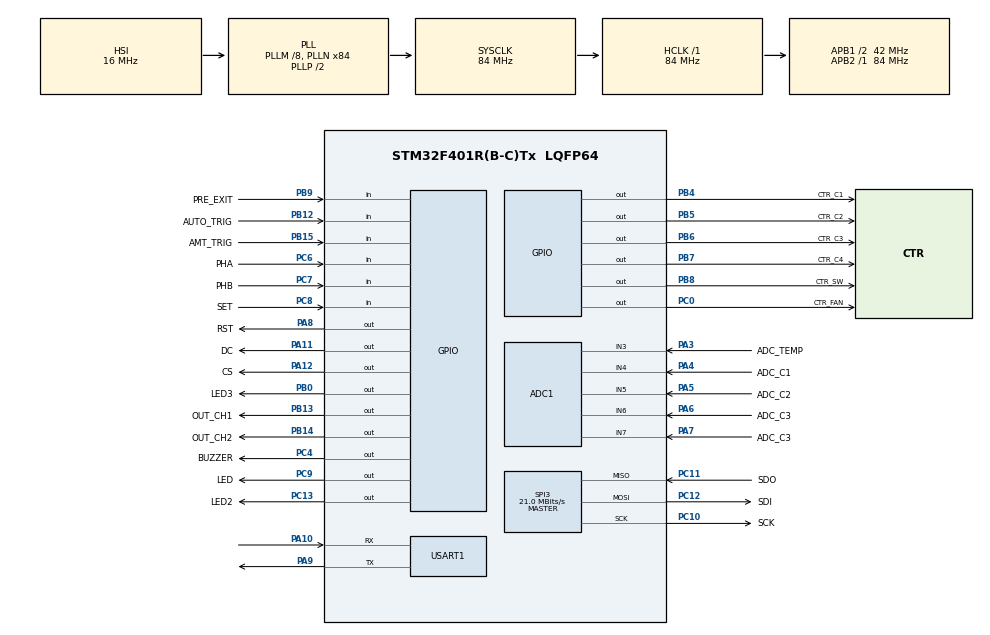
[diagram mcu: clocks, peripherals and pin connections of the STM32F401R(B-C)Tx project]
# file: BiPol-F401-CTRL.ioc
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ADC1.Channel-0\#ChannelRegularConversion=ADC_CHANNEL_3
ADC1.Channel-1\#ChannelRegularConversion=ADC_CHANNEL_4
ADC1.Channel-2\#ChannelRegularConversion=ADC_CHANNEL_5
ADC1.Channel-3\#ChannelRegularConversion=ADC_CHANNEL_6
ADC1.Channel-4\#ChannelRegularConversion=ADC_CHANNEL_7
ADC1.ContinuousConvMode=ENABLE
ADC1.DMAContinuousRequests=ENABLE
ADC1.NbrOfConversion=5
ADC1.NbrOfConversionFlag=1
ADC1.Rank-0\#ChannelRegularConversion=1
ADC1.Rank-1\#ChannelRegularConversion=2
ADC1.Rank-2\#ChannelRegularConversion=3
ADC1.Rank-3\#ChannelRegularConversion=4
ADC1.Rank-4\#ChannelRegularConversion=5
ADC1.SamplingTime-0\#ChannelRegularConversion=ADC_SAMPLETIME_480CYCLES
ADC1.SamplingTime-1\#ChannelRegularConversion=ADC_SAMPLETIME_480CYCLES
ADC1.SamplingTime-2\#ChannelRegularConversion=ADC_SAMPLETIME_480CYCLES
ADC1.SamplingTime-3\#ChannelRegularConversion=ADC_SAMPLETIME_480CYCLES
ADC1.SamplingTime-4\#ChannelRegularConversion=ADC_SAMPLETIME_480CYCLES
ADC1.master=1
Dma.ADC1.0.Direction=DMA_PERIPH_TO_MEMORY
Dma.ADC1.0.FIFOMode=DMA_FIFOMODE_DISABLE
Dma.ADC1.0.Instance=DMA2_Stream0
Dma.ADC1.0.MemDataAlignment=DMA_MDATAALIGN_WORD
Dma.ADC1.0.MemInc=DMA_MINC_ENABLE
Dma.ADC1.0.Mode=DMA_CIRCULAR
Dma.ADC1.0.PeriphDataAlignment=DMA_PDATAALIGN_WORD
Dma.ADC1.0.PeriphInc=DMA_PINC_DISABLE
Dma.ADC1.0.Priority=DMA_PRIORITY_LOW
Dma.Request0=ADC1
Mcu.Family=STM32F4
Mcu.Name=STM32F401R(B-C)Tx
Mcu.Package=LQFP64
NVIC.DMA2_Stream0_IRQn=true\:0\:0\:false\:false\:true\:false\:true
NVIC.PriorityGroup=NVIC_PRIORITYGROUP_4
NVIC.TIM2_IRQn=true\:0\:0\:true\:false\:true\:true\:true
NVIC.TIM3_IRQn=true\:0\:0\:true\:false\:true\:true\:true
NVIC.TIM4_IRQn=true\:0\:0\:false\:false\:true\:true\:true
PA10.Mode=Asynchronous
PA10.Signal=USART1_RX
PA11.GPIO_Label=DC
PA11.Signal=GPIO_Output
PA12.GPIO_Label=CS
PA12.Signal=GPIO_Output
PA13.Mode=Trace_Asynchronous_SW
PA13.Signal=SYS_JTMS-SWDIO
PA14.Mode=Trace_Asynchronous_SW
PA14.Signal=SYS_JTCK-SWCLK
PA3.GPIO_Label=ADC_TEMP
PA3.Signal=ADCx_IN3
PA4.GPIO_Label=ADC_C1
PA4.Signal=ADCx_IN4
PA5.GPIO_Label=ADC_C2
PA5.Signal=ADCx_IN5
PA6.GPIO_Label=ADC_C3
PA6.Signal=ADCx_IN6
PA7.GPIO_Label=ADC_C3
PA7.Signal=ADCx_IN7
PA8.GPIO_Label=RST
PA8.Signal=GPIO_Output
PA9.Mode=Asynchronous
PA9.Signal=USART1_TX
PB0.GPIO_Label=LED3
PB0.Signal=GPIO_Output
PB12.GPIO_Label=AUTO_TRIG
PB12.GPIO_PuPd=GPIO_PULLUP
PB12.Signal=GPIO_Input
PB13.GPIO_Label=OUT_CH1
PB13.Signal=GPIO_Output
PB14.GPIO_Label=OUT_CH2
PB14.Signal=GPIO_Output
PB15.GPIO_Label=AMT_TRIG
PB15.GPIO_PuPd=GPIO_PULLUP
PB15.Signal=GPIO_Input
PB3.Mode=Trace_Asynchronous_SW
PB3.Signal=SYS_JTDO-SWO
PB4.GPIO_Label=CTR_C1
PB4.Signal=GPIO_Output
PB5.GPIO_Label=CTR_C2
PB5.Signal=GPIO_Output
PB6.GPIO_Label=CTR_C3
PB6.Signal=GPIO_Output
PB7.GPIO_Label=CTR_C4
PB7.Signal=GPIO_Output
PB8.GPIO_Label=CTR_SW
PB8.Signal=GPIO_Output
PB9.GPIO_Label=PRE_EXIT
PB9.GPIO_PuPd=GPIO_PULLUP
PB9.Signal=GPIO_Input
PC0.GPIO_Label=CTR_FAN
PC0.Signal=GPIO_Output
PC10.GPIO_Label=SCK
PC10.Mode=Full_Duplex_Master
PC10.Signal=SPI3_SCK
PC11.GPIO_Label=SDO
PC11.Mode=Full_Duplex_Master
PC11.Signal=SPI3_MISO
PC12.GPIO_Label=SDI
PC12.Mode=Full_Duplex_Master
PC12.Signal=SPI3_MOSI
PC13-ANTI_TAMP.GPIO_Label=LED2
PC13-ANTI_TAMP.Signal=GPIO_Output
PC14-OSC32_IN.Mode=LSE-External-Oscillator
PC14-OSC32_IN.Signal=RCC_OSC32_IN
PC15-OSC32_OUT.Mode=LSE-External-Oscillator
PC15-OSC32_OUT.Signal=RCC_OSC32_OUT
PC4.GPIO_Label=BUZZER
PC4.Signal=GPIO_Output
PC6.GPIO_Label=PHA
PC6.GPIO_PuPd=GPIO_PULLUP
PC6.Signal=GPIO_Input
PC7.GPIO_Label=PHB
PC7.GPIO_PuPd=GPIO_PULLUP
PC7.Signal=GPIO_Input
PC8.GPIO_Label=SET
PC8.GPIO_PuPd=GPIO_PULLUP
PC8.Signal=GPIO_Input
PC9.GPIO_Label=LED
PC9.Signal=GPIO_Output
PH0\ -\ OSC_IN.Mode=HSE-External-Oscillator
PH0\ -\ OSC_IN.Signal=RCC_OSC_IN
PH1\ -\ OSC_OUT.Mode=HSE-External-Oscillator
PH1\ -\ OSC_OUT.Signal=RCC_OSC_OUT
ProjectManager.HeapSize=0x200
ProjectManager.StackSize=0x400
ProjectManager.TargetToolchain=STM32CubeIDE
RCC.48MHZClocksFreq_Value=42000000
RCC.AHBFreq_Value=84000000
RCC.APB1CLKDivider=RCC_HCLK_DIV2
RCC.APB1Freq_Value=42000000
RCC.APB1TimFreq_Value=84000000
RCC.APB2Freq_Value=84000000
RCC.APB2TimFreq_Value=84000000
RCC.CortexFreq_Value=84000000
RCC.HCLKFreq_Value=84000000
RCC.HSE_VALUE=25000000
RCC.HSI_VALUE=16000000
RCC.PLLM=8
RCC.PLLN=84
RCC.SYSCLKFreq_VALUE=84000000
RCC.SYSCLKSource=RCC_SYSCLKSOURCE_PLLCLK
RCC.VCOOutputFreq_Value=168000000
SH.ADCx_IN3.0=ADC1_IN3,IN3
SH.ADCx_IN4.0=ADC1_IN4,IN4
SH.ADCx_IN5.0=ADC1_IN5,IN5
SH.ADCx_IN6.0=ADC1_IN6,IN6
SH.ADCx_IN7.0=ADC1_IN7,IN7
SPI3.CLKPolarity=SPI_POLARITY_LOW
SPI3.CalculateBaudRate=21.0 MBits/s
SPI3.Direction=SPI_DIRECTION_2LINES
SPI3.Mode=SPI_MODE_MASTER
SPI3.VirtualType=VM_MASTER
TIM2.AutoReloadPreload=TIM_AUTORELOAD_PRELOAD_ENABLE
TIM2.Prescaler=83
TIM3.AutoReloadPreload=TIM_AUTORELOAD_PRELOAD_ENABLE
TIM3.Period=249
TIM3.Prescaler=83
TIM4.AutoReloadPreload=TIM_AUTORELOAD_PRELOAD_ENABLE
TIM4.Period=49
TIM4.Prescaler=83
USART1.VirtualMode=VM_ASYNC
VP_CRC_VS_CRC.Mode=CRC_Activate
VP_TIM2_VS_ClockSourceINT.Mode=Internal
VP_TIM3_VS_ClockSourceINT.Mode=Internal
VP_TIM4_VS_ClockSourceINT.Mode=Internal
board=custom

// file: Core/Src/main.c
/* USER CODE BEGIN Header */
/**
  ******************************************************************************
  * @file           : main.c
  * @brief          : Main program body
  ******************************************************************************
  * @attention
  *
  * <h2><center>&copy; Copyright (c) 2025 STMicroelectronics.
  * All rights reserved.</center></h2>
  *
  * This software component is licensed by ST under BSD 3-Clause license,
  * the "License"; You may not use this file except in compliance with the
  * License. You may obtain a copy of the License at:
  *                        opensource.org/licenses/BSD-3-Clause
  *
  ******************************************************************************
  */
/* USER CODE END Header */
#include "main.h"
#include "adc.h"
#include "crc.h"
#include "dma.h"
#include "spi.h"
#include "tim.h"
#include "usart.h"
#include "gpio.h"

/* USER CODE BEGIN Includes */
#include "stdio.h"
#include "lcd.h"
#include "flash_store.h"
#include "debug_printf.h"
#include "ui.h"
/* USER CODE END Includes */

/* USER CODE BEGIN PTD */
#ifdef __GNUC__
PUTCHAR_PROTOTYPE
{
    HAL_UART_Transmit(&huart1, (uint8_t*)&ch, 1, HAL_MAX_DELAY);
    return ch;
}
#endif

volatile uint32_t timer_overflow_count = 0;  // 溢出次数�????????????????32位扩展）

uint64_t Get_Global_Time_us(void) {
    uint32_t overflow, counter;
    do {
        overflow = timer_overflow_count;
        counter = __HAL_TIM_GET_COUNTER(&htim2);
    } while (overflow != timer_overflow_count); // 无锁校验
    return ((uint64_t)overflow<<32) | counter; // 组合�????????????????64位时间戳
}

void didi()
{
    HAL_TIM_Base_Start_IT(&htim3);
}

data_cfg_t g_dataCfg;

void (*g_blanking_function)(float) = NULL;

#define INIT_VAL 2000000000
#define FLOAT_TO_UINT32(x) ((uint32_t)((x) + 0.5f))
typedef enum {
    MANUAL,
    AUTO,
    NONE
} WELDING_MODE;
uint8_t pre_exit = 0;
WELDING_MODE trig_type=NONE;

uint8_t g_blanking;
uint32_t g_cnt =  INIT_VAL;
uint8_t g_btn = 0;
int32_t btn_delay_cnt = 10000;//500ms base 50us period
int32_t trig_delay_cnt = 10000;//500ms base 50us period
int32_t pre_exit_delay_cnt = 100000;//5s base 50us period
uint8_t bezCnt = 0;
void HAL_TIM_PeriodElapsedCallback(TIM_HandleTypeDef *htim) {
    static int8_t cnt_btn=0;
    static int8_t cnt_a=0;
    static int8_t pre_a=0;
    static int8_t cnt_b=0;
    static int8_t cnt_amt_trig=0;
    static int8_t cnt_auto_trig=0;
    static int8_t cnt_pre_exit=0;
    if (htim->Instance == TIM2) {
        timer_overflow_count++;
    }
    if (htim->Instance == TIM3) {
        HAL_GPIO_TogglePin(BUZZER_GPIO_Port,BUZZER_Pin);
        bezCnt += 1;
        if(bezCnt>35)
        {
            bezCnt=0;
            HAL_TIM_Base_Stop_IT(&htim3);
        }
    }
    if(htim->Instance == TIM4) // 50us
    {
        cnt_amt_trig += HAL_GPIO_ReadPin(AMT_TRIG_GPIO_Port,AMT_TRIG_Pin)?-1:1;
        cnt_auto_trig += HAL_GPIO_ReadPin(AUTO_TRIG_GPIO_Port,AUTO_TRIG_Pin)?-1:1;
        cnt_pre_exit += HAL_GPIO_ReadPin(PRE_EXIT_GPIO_Port,PRE_EXIT_Pin)?-1:1;
        cnt_btn += HAL_GPIO_ReadPin(SET_GPIO_Port,SET_Pin)?-1:1;
        cnt_a += HAL_GPIO_ReadPin(PHB_GPIO_Port,PHB_Pin)?1:-1;
        cnt_b += HAL_GPIO_ReadPin(PHA_GPIO_Port,PHA_Pin)?1:-1;
        cnt_amt_trig = (int8_t)((cnt_amt_trig < 0) ? 0 : ((cnt_amt_trig > 20) ? 20 : cnt_amt_trig));
        cnt_auto_trig = (int8_t)((cnt_auto_trig < 0) ? 0 : ((cnt_auto_trig > 20) ? 20 : cnt_auto_trig));
        cnt_pre_exit = (int8_t)((cnt_pre_exit < 0) ? 0 : ((cnt_pre_exit > 20) ? 20 : cnt_pre_exit));
        cnt_btn = (int8_t)((cnt_btn < 0) ? 0 : ((cnt_btn > 20) ? 20 : cnt_btn));
        cnt_a = (int8_t)((cnt_a < 0) ? 0 : ((cnt_a > 20) ? 20 : cnt_a));
        cnt_b = (int8_t)((cnt_b < 0) ? 0 : ((cnt_b > 20) ? 20 : cnt_b));
        if(trig_type==NONE)
        {
            trig_delay_cnt -= 1;
            trig_delay_cnt = (trig_delay_cnt > 10000) ? 10000 : ((trig_delay_cnt < 0) ? 0 : trig_delay_cnt);
        }
        btn_delay_cnt -= 1;
        btn_delay_cnt = (btn_delay_cnt > 10000) ? 10000 : ((btn_delay_cnt < 0) ? 0 : btn_delay_cnt);
        if(pre_exit==0)
        {
            pre_exit_delay_cnt -= 1;
            pre_exit_delay_cnt = (pre_exit_delay_cnt > 100000) ? 100000 : ((pre_exit_delay_cnt < 0) ? 0 : pre_exit_delay_cnt);
        }

        if(cnt_amt_trig>10 && trig_delay_cnt==0)
        {
            trig_type = MANUAL;
            trig_delay_cnt = 10000;
        }

        if(cnt_auto_trig>10 && trig_delay_cnt==0)
        {
            trig_type = AUTO;
            trig_delay_cnt = 10000;
        }
        if(cnt_pre_exit>10 && pre_exit_delay_cnt==0)
        {
            pre_exit = 1;
            pre_exit_delay_cnt = 100000;
        }

        if(cnt_btn>10 && btn_delay_cnt==0)
        {
            didi();
            g_btn = 1;
            cnt_btn = 0;
            btn_delay_cnt = 10000;// reset
        }

        if(cnt_a>10)
        {
            pre_a = 1;
        }
        else
        {
            if(pre_a)
            {
                if(cnt_b>10)//CCW
                {
                    didi();
                    g_cnt--;
                }else //CW
                {
                    didi();
                    g_cnt++;
                }
            }
            pre_a = 0;
        }
        //HAL_GPIO_WritePin(LED3_GPIO_Port,LED3_Pin,0);
//        HAL_GPIO_TogglePin(LED2_GPIO_Port,LED2_Pin);
        //HAL_GPIO_WritePin(LED2_GPIO_Port,LED2_Pin,0);
    }
}

/* USER CODE END PTD */

/* USER CODE BEGIN PD */
/* 系统状�?�枚�???????????? */
typedef enum {
    STATE_INIT = 0,
    STATE_CHARGE,
    STATE_BALANCE,
    STATE_MAINTAIN,
    STATE_DISCHARGE
} SystemState;

/* 全局变量 */
SystemState g_state = STATE_INIT;

uint32_t g_adc_buffer[5];            // ADC采样缓冲�????????????
uint16_t g_target_voltage_mv = 0;    // 目标电压 (mV)
uint16_t g_cap_voltage_mv[4] = {0};  // 电容电压 (mV)
uint16_t g_temp = 0;                 // 温度电压 (mv)

uint8_t value_updated = 0;

WELDING_MODE g_weldingMode = 0; // 0:AMT,1: AUTO
uint32_t g_idx = 0;   // 1- 5
float g_U = 9.2f;     // 0.2-12.0 v
float g_psqr = 0.1f;  // 0.1-5.0 s
float g_ch1 = 9.6f;   // 0.1-25.0 ms
float g_cool = 1.0f;  // 1.0-9.9 ms
float g_ch2 = 9.6f;   // 0.1-25.0 ms
uint32_t g_count = 0; // 0->>>>>

void SystemStateMachine(void);
void UpdateVoltageMeasurements(void);

uint8_t env_detect()
{
    static uint64_t pretime = 0;
    uint64_t crrtime = Get_Global_Time_us();
    if(crrtime > pretime + 1000000)
    {
//        HAL_GPIO_TogglePin(LED2_GPIO_Port,LED2_Pin);
        pretime = crrtime;
        if(g_temp<1500)
        {
//            printf("FAN ON\r\n");
            HAL_GPIO_WritePin(CTR_FAN_GPIO_Port,CTR_FAN_Pin,1);
        }
        if(g_temp>1800)
        {
//            printf("FAN OFF\r\n");
            HAL_GPIO_WritePin(CTR_FAN_GPIO_Port,CTR_FAN_Pin,0);
        }
        return 1;
    }
    return 0;
}

void HAL_ADC_ConvCpltCallback(ADC_HandleTypeDef* hadc) {
    if(hadc->Instance == ADC1) {
//        HAL_GPIO_TogglePin(LED2_GPIO_Port,LED2_Pin);
        UpdateVoltageMeasurements();
    }
}

void updateParameter(uint32_t idx)
{
    g_U = (float)(g_dataCfg.u[idx]/100.0f);
    g_psqr =  (float)(g_dataCfg.psqr[idx]/10.0f);
    g_ch1 = (float)(g_dataCfg.ch1[idx]/10.0f);
    g_cool = (float)(g_dataCfg.cool[idx]/10.0f);
    g_ch2 = (float)(g_dataCfg.ch2[idx]/10.0f);

    ShowSelectedChannel(g_idx,0);
    ShowSetVoltage(g_U,0);
    ShowSQDuration(g_psqr,0);
    ShowWE1Duration(g_ch1,0);
    ShowCOOLDuration(g_cool,0);
    ShowWE2Duration(g_ch2,0);
}

#define ALPHA 0.1f
static uint16_t filtered_voltage[4] = {0};

void UpdateVoltageMeasurements(void) {

    g_target_voltage_mv = (u_int16_t)(g_U/2.0f*1000.0f);

    // Temperature Sensor Input. channel(PA3)
    g_temp = (uint16_t)(g_adc_buffer[0] * 3300.0f / 4096.0f); // <1500,fan on; >1700, fan off

    // Four Capacitor Voltage Inputs. channel(PA4-PA7)
    for(int i = 0; i < 4; i++) {
        float adc_voltage = g_adc_buffer[i+1] * 3.3f / 4096.0f;
        // scaling
        uint16_t raw_voltage = (uint16_t)(adc_voltage * (16.0f / 10.0f) * 1000);

        // Low-pass filter
        if(filtered_voltage[i] == 0) {
            filtered_voltage[i] = raw_voltage;
        } else {
            filtered_voltage[i] = (uint16_t)(ALPHA * raw_voltage + (1 - ALPHA) * filtered_voltage[i]);
        }
        g_cap_voltage_mv[i] = filtered_voltage[i];
    }

//    printf("Set=%u,C1=%u,C2=%u,C3=%u,C4=%u,St=%d\r\n",
//           g_target_voltage_mv,
//           g_cap_voltage_mv[0],
//           g_cap_voltage_mv[1],
//           g_cap_voltage_mv[2],
//           g_cap_voltage_mv[3],
//           g_state);
}

#define BALANCE_THRESHOLD    20    // unit(mv)

void SystemStateMachine(void) {
    uint8_t i;
    uint16_t max_voltage = 0;
    uint16_t min_voltage = UINT16_MAX;
    uint16_t avg_voltage = 0;
    uint8_t max_id = 0;

    for(i = 0; i < 4; i++) {
        if(g_cap_voltage_mv[i] > max_voltage)
        {
            max_voltage = g_cap_voltage_mv[i];
            max_id = i;
        }
        if(g_cap_voltage_mv[i] < min_voltage)
        {
            min_voltage = g_cap_voltage_mv[i];
        }
        avg_voltage += g_cap_voltage_mv[i];
    }
    avg_voltage /= 4;

    switch(g_state) {
        case STATE_INIT:
            g_state = STATE_CHARGE;
            break;

        case STATE_CHARGE: {
            HAL_GPIO_WritePin(CTR_SW_GPIO_Port, CTR_SW_Pin, GPIO_PIN_SET);

            HAL_GPIO_WritePin(CTR_C1_GPIO_Port, CTR_C1_Pin, GPIO_PIN_RESET);
            HAL_GPIO_WritePin(CTR_C2_GPIO_Port, CTR_C2_Pin, GPIO_PIN_RESET);
            HAL_GPIO_WritePin(CTR_C3_GPIO_Port, CTR_C3_Pin, GPIO_PIN_RESET);
            HAL_GPIO_WritePin(CTR_C4_GPIO_Port, CTR_C4_Pin, GPIO_PIN_RESET);

            if(avg_voltage > g_target_voltage_mv*0.3) {
                g_state = STATE_BALANCE;
            }
            break;
        }

        case STATE_BALANCE: {
            HAL_GPIO_WritePin(CTR_SW_GPIO_Port, CTR_SW_Pin, GPIO_PIN_SET);

            uint8_t discharge_flags[4] = {0};

            if(max_voltage-min_voltage > BALANCE_THRESHOLD)
            {
                discharge_flags[max_id] = 1;
            }

            HAL_GPIO_WritePin(CTR_C1_GPIO_Port, CTR_C1_Pin, discharge_flags[0]);
            HAL_GPIO_WritePin(CTR_C2_GPIO_Port, CTR_C2_Pin, discharge_flags[1]);
            HAL_GPIO_WritePin(CTR_C3_GPIO_Port, CTR_C3_Pin, discharge_flags[2]);
            HAL_GPIO_WritePin(CTR_C4_GPIO_Port, CTR_C4_Pin, discharge_flags[3]);

            if(max_voltage<g_target_voltage_mv*0.8)
            {
                g_state = STATE_CHARGE;
            }

            if(avg_voltage>g_target_voltage_mv) {
                g_state = STATE_MAINTAIN;
            }
            break;
        }

        case STATE_MAINTAIN: {
            HAL_GPIO_WritePin(CTR_SW_GPIO_Port, CTR_SW_Pin, GPIO_PIN_RESET);

            uint8_t discharge_flags[4] = {0};

            if(max_voltage-min_voltage > BALANCE_THRESHOLD)
            {
                discharge_flags[max_id] = 1;
            }

            HAL_GPIO_WritePin(CTR_C1_GPIO_Port, CTR_C1_Pin, discharge_flags[0] );
            HAL_GPIO_WritePin(CTR_C2_GPIO_Port, CTR_C2_Pin, discharge_flags[1] );
            HAL_GPIO_WritePin(CTR_C3_GPIO_Port, CTR_C3_Pin, discharge_flags[2] );
            HAL_GPIO_WritePin(CTR_C4_GPIO_Port, CTR_C4_Pin, discharge_flags[3] );

            if(max_voltage<g_target_voltage_mv)
            {
                g_state = STATE_BALANCE;
            }

            if(min_voltage>g_target_voltage_mv)
            {
                g_state = STATE_DISCHARGE;
            }
            break;
        }

        case STATE_DISCHARGE: {
            HAL_GPIO_WritePin(CTR_SW_GPIO_Port, CTR_SW_Pin, GPIO_PIN_RESET);

            uint8_t discharge_flags[4] = {0};
            uint8_t all_in_range = 1;

            for(i = 0; i < 4; i++) {
                if ((g_cap_voltage_mv[i]>=g_target_voltage_mv) && (g_cap_voltage_mv[i] - g_target_voltage_mv > BALANCE_THRESHOLD)) {
                    discharge_flags[i] = 1;
                    all_in_range = 0;
                }
            }

            HAL_GPIO_WritePin(CTR_C1_GPIO_Port, CTR_C1_Pin, discharge_flags[0] );
            HAL_GPIO_WritePin(CTR_C2_GPIO_Port, CTR_C2_Pin, discharge_flags[1] );
            HAL_GPIO_WritePin(CTR_C3_GPIO_Port, CTR_C3_Pin, discharge_flags[2] );
            HAL_GPIO_WritePin(CTR_C4_GPIO_Port, CTR_C4_Pin, discharge_flags[3] );

            if(all_in_range)
            {
                g_state = STATE_MAINTAIN;
            }
            break;
        }
    }
}

void update_cap_equalizer()
{
    static uint64_t preTimestamp = 0;
    if(Get_Global_Time_us()>preTimestamp+100000)
    {
        SystemStateMachine();
        preTimestamp = Get_Global_Time_us();
        float UC1 = (float)((float)(g_cap_voltage_mv[0])/1000.f); //for debug
        float UC2 = (float)((float)(g_cap_voltage_mv[1])/1000.f); //for debug
        ShowC1C2(UC1,UC2);
        float UC3 = (float)((float)(g_cap_voltage_mv[2])/1000.f); //for debug
        float UC4 = (float)((float)(g_cap_voltage_mv[3])/1000.f); //for debug
        ShowC3C4(UC3,UC4);
    }
}

//------------------------before is for cap equalizer--------------------

static void saveVal()
{
    g_dataCfg.u[g_idx] = FLOAT_TO_UINT32(g_U*100);
    g_dataCfg.psqr[g_idx] = FLOAT_TO_UINT32(g_psqr*10);
    g_dataCfg.ch1[g_idx] = FLOAT_TO_UINT32(g_ch1*10);
    g_dataCfg.cool[g_idx] = FLOAT_TO_UINT32(g_cool*10);
    g_dataCfg.ch2[g_idx] = FLOAT_TO_UINT32(g_ch2*10);
    g_dataCfg.idx = g_idx;
    g_dataCfg.count = (uint32_t)(g_count);
    g_dataCfg.flag[g_idx] = 12345;

//    printf("dataCfg.psqr=%lu, psqr=%f",dataCfg.psqr,g_psqr);

    FlashStore_Save(g_dataCfg);

    static uint32_t cnt = 0;
    cnt += 1;
}

void back_to_idle()
{
    printf("back to idle\r\n");
    ShowSelectedButton(255); // 255 means no button selected
}

void saveBeforeExit()
{
    if(pre_exit==1)
    {
        printf("pre exit.\r\n");
        if(value_updated)
        {
            printf("save before exit.\r\n");
            g_dataCfg.idx = g_idx;
            g_dataCfg.count = (uint32_t)(g_count);
            FlashStore_Save(g_dataCfg);
            value_updated = 0;
        }
    }
    pre_exit = 0;
}

void edit_state(uint8_t selected_index,uint8_t editing)
{
    switch (selected_index) {
        case 0:
            ShowSQDuration(g_psqr, editing);
            break;
        case 1:
            ShowWE1Duration(g_ch1,editing);
            break;
        case 2:
            ShowCOOLDuration(g_cool,editing);
            break;
        case 3:
            ShowWE2Duration(g_ch2,editing);
            break;
        case 4:
            ShowSetVoltage(g_U,editing);
            break;
        case 6:
            ShowSelectedChannel(g_idx, editing);
            break;
        case 7:
            ShowWeldingMode(g_weldingMode,editing);
            break;
        case 8:
            ShowWeldingMode(g_weldingMode,editing);
            break;
        default:
            break;
    }
}

/* USER CODE END PD */

/* USER CODE BEGIN PM */
// State enumeration
typedef enum {
    IDLE_MODE,      // Idle state
    SELECT_MODE,    // Variable selection state
    EDIT_MODE       // Variable modification state
} State;

// Global state variable
State current_state = IDLE_MODE;
uint8_t selected_index = 9;  // Currently selected variable index:0,1,2,3,4,5 6,7,8,9==> PSQR, CH1, COOL, CH2, SOV, SAVE, PARAM, AUTO, MAN, RCL
uint32_t prev_cnt = INIT_VAL;  // Same initial value as g_cnt.
uint64_t last_activity_time = 0; // Last activity timestamp
uint64_t last_saving_time = 0;
const uint64_t IDLE_TIMEOUT = 3000000; // Idle timeout: 3s
const uint64_t SAVING_TIMEOUT = 1000000; // 1s
// State machine handler
void update_state_machine(void) {
    uint64_t current_time = Get_Global_Time_us();

    if(last_saving_time!=0)
    {
        if(current_time-last_saving_time>SAVING_TIMEOUT)
        {
            ShowSaving(0);
            last_saving_time=0;
        }
    }

    // Check for idle timeout (except in IDLE_MODE state).
    if (current_state != IDLE_MODE) {
        if (current_time - last_activity_time > IDLE_TIMEOUT) {
            if(current_state==EDIT_MODE)
            {
                edit_state(selected_index,0);
                current_state = SELECT_MODE;
                ShowSelectedButton(selected_index);
                last_activity_time = current_time;
            }
            else if(current_state==SELECT_MODE)
            {
                current_state = IDLE_MODE;
                back_to_idle();
                selected_index = 9;
                g_cnt = INIT_VAL;
                prev_cnt = INIT_VAL;
            }
            return;
        }
    }

    // Calculate the change in encoder count
    int32_t diff = (int32_t)(g_cnt - prev_cnt);

    // Process button event (if button is pressed)
    if (g_btn == 1) {
        printf("btn=ON\r\n");
        last_activity_time = current_time; // Update activity time

        if (current_state == IDLE_MODE)
        {
            // do nothing
        }else if (current_state == SELECT_MODE)
        {
            current_state = EDIT_MODE;
            if(selected_index==8)
            {
                printf("mode=MANUAL\r\n");
                g_weldingMode = MANUAL;
            }else if(selected_index==7)
            {
                printf("mode=AUTO\r\n");
                g_weldingMode = AUTO;
            }else if(selected_index==5) // save parameter,no need enter edit mode
            {
                ShowSaving(1);
                saveVal();
                ShowSelectedChannel(g_idx,0);
                current_state = SELECT_MODE;
                last_saving_time = Get_Global_Time_us();
            }
            edit_state(selected_index,1);

        } else if (current_state == EDIT_MODE)
        {
            current_state = SELECT_MODE;
            edit_state(selected_index,0);
            ShowSelectedButton(selected_index);
        }
        g_btn = 0;
        return;
    }

    // Process encoder rotation event (if rotated)
    if (diff != 0) {
        last_activity_time = current_time;
        prev_cnt = g_cnt;
        if (current_state == IDLE_MODE) {
            current_state = SELECT_MODE;
        } else if (current_state == SELECT_MODE) {
            if (diff > 0) {
                selected_index = (selected_index + 1) % 10;
            } else {
                if(selected_index==0) {
                    selected_index = 9;
                }else{
                    selected_index = selected_index - 1;
                }
                selected_index = selected_index % 10;
            }
            ShowSelectedButton(selected_index);
        } else if (current_state == EDIT_MODE) {
            switch (selected_index) {
                case 0: // g_psqr: 0.1-5.0 s
                    g_psqr += (diff > 0) ? 0.1f : -0.1f;
                    g_psqr = (g_psqr > 5.0f) ? 5.0f : g_psqr;
                    g_psqr = (g_psqr < 0.11f) ? 0.1f : g_psqr;
                    ShowSQDuration(g_psqr,1);
                    break;
                case 1: // g_ch1: 0.1-25.0 ms
                    g_ch1 += (diff > 0) ? 0.1f : -0.1f;
                    g_ch1 = (g_ch1 > 25.0f) ? 25.0f : g_ch1;
                    g_ch1 = (g_ch1 < 0.11f) ? 0.1f : g_ch1;
                    ShowWE1Duration(g_ch1,1);
                    break;
                case 2: // g_cool:  1.0-9.9 ms
                    g_cool += (diff > 0) ? 0.1f : -0.1f;
                    g_cool = (g_cool > 9.9f) ? 9.9f : g_cool;
                    g_cool = (g_cool < 1.01f) ? 1.0f : g_cool;
                    ShowCOOLDuration(g_cool,1);
                    break;
                case 3: // g_ch2: 0.1-25.0 ms
                    g_ch2 += (diff > 0) ? 0.1f : -0.1f;
                    g_ch2 = (g_ch2 > 25.0f) ? 25.0f : g_ch2;
                    g_ch2 = (g_ch2 < 0.11f) ? 0.1f : g_ch2;
                    ShowWE2Duration(g_ch2, 1);
                    break;
                case 4: // g_U: 0.0-6.0 v
                    g_U += (diff > 0) ? 0.02f : -0.02f;
                    g_U = (g_U > 6.0f) ? 6.0f : g_U;
                    g_U = (g_U < 0.01f) ? 0.0f : g_U;
                    ShowSetVoltage(g_U, 1);
                    break;
                case 6: // param
                    if(diff > 0)
                    {
                        g_idx += 1;
                        g_idx = (g_idx>=5)? 0 : g_idx;
                    }else if(diff<0)
                    {
                        if(g_idx>0)
                        {
                            g_idx -= 1;
                        }else
                        {
                            g_idx=4;
                        }
                    }
                    updateParameter(g_idx);
                    ShowSelectedChannel(g_idx,1);
                    break;
                case 7:
                    g_weldingMode = AUTO;
                    ShowWeldingMode(g_weldingMode, 1);
                    break;
                case 8:
                    g_weldingMode = MANUAL;
                    ShowWeldingMode(g_weldingMode, 1);
                    break;
                default:
                    break;
            }
            value_updated = 1;
        }
    }
}
/* USER CODE END PM */

/* USER CODE BEGIN PV */
void update_pulse_generation()
{
    uint8_t gen_flag = 0;
    uint64_t pre_time_stamp = 0;
    if(g_weldingMode==trig_type)
    {
        gen_flag = 1;
        printf("gen trig\r\n");
    }

    if(gen_flag == 1)
    {
        // 1, delay for PSQR
        pre_time_stamp = Get_Global_Time_us();
        while(Get_Global_Time_us() < pre_time_stamp + (uint64_t)(g_psqr*1000000)){};

        // 2, output CH1
        pre_time_stamp = Get_Global_Time_us();
        HAL_GPIO_WritePin(OUT_CH1_GPIO_Port,OUT_CH1_Pin,1);
        while(Get_Global_Time_us() < pre_time_stamp + (uint64_t)(g_ch1*1000)){};
        HAL_GPIO_WritePin(OUT_CH1_GPIO_Port,OUT_CH1_Pin,0);

        // 3, delay for COOL
        pre_time_stamp = Get_Global_Time_us();
        while(Get_Global_Time_us() < pre_time_stamp + (uint64_t)(g_cool*1000)){};

        // 3, output CH2
        pre_time_stamp = Get_Global_Time_us();
        HAL_GPIO_WritePin(OUT_CH2_GPIO_Port,OUT_CH2_Pin,1);
        while(Get_Global_Time_us() < pre_time_stamp + (uint64_t)(g_ch2*1000)){};
        HAL_GPIO_WritePin(OUT_CH2_GPIO_Port,OUT_CH2_Pin,0);

        g_count ++;
        ShowCnt(g_count);
        value_updated = 1;
    }

    // clear trig flag
    trig_type = NONE;
}

/* USER CODE END PV */

void SystemClock_Config(void);

int main(void)
{

  /* MCU Configuration--------------------------------------------------------*/

  /* Reset of all peripherals, Initializes the Flash interface and the Systick. */
  HAL_Init();

  /* Configure the system clock */
  SystemClock_Config();

  /* Initialize all configured peripherals */
  MX_GPIO_Init();
  MX_DMA_Init();
  MX_TIM2_Init();
  MX_ADC1_Init();
  MX_SPI3_Init();
  MX_USART1_UART_Init();
  MX_CRC_Init();
  MX_TIM3_Init();
  MX_TIM4_Init();
  /* USER CODE BEGIN 2 */
    HAL_ADC_Start_DMA(&hadc1, (uint32_t*)g_adc_buffer, 5);
    HAL_TIM_Base_Start_IT(&htim2);
    HAL_TIM_Base_Start_IT(&htim4);

    FlashStore_Init();

    // all switch off
    HAL_GPIO_WritePin(CTR_SW_GPIO_Port, CTR_SW_Pin, GPIO_PIN_RESET);
    HAL_GPIO_WritePin(CTR_C1_GPIO_Port, CTR_C1_Pin, GPIO_PIN_RESET);
    HAL_GPIO_WritePin(CTR_C2_GPIO_Port, CTR_C2_Pin, GPIO_PIN_RESET);
    HAL_GPIO_WritePin(CTR_C3_GPIO_Port, CTR_C3_Pin, GPIO_PIN_RESET);
    HAL_GPIO_WritePin(CTR_C4_GPIO_Port, CTR_C4_Pin, GPIO_PIN_RESET);

    LCD_Turn_On_Backlight();
    LCD_Init();
    LCD_Display_Dir(USE_LCM_DIR); //Screen orientation
    LCD_Clear(BLACK);
//    LCD_Turn_On_Backlight();

    initUI();
    LCD_Display_On();

    if(FlashStore_GetLatest(&g_dataCfg))
    {
        g_idx = (uint32_t)g_dataCfg.idx;

        for(int i=0;i<5;i++)
        {
            if(g_dataCfg.u[i]%2!=0)
            {
                g_dataCfg.u[i]+=1;
            }
        }

        g_U = (float)(g_dataCfg.u[g_idx]/100.0f);
        g_psqr =  (float)(g_dataCfg.psqr[g_idx]/10.0f);
        g_ch1 = (float)(g_dataCfg.ch1[g_idx]/10.0f);
        g_cool = (float)(g_dataCfg.cool[g_idx]/10.0f);
        g_ch2 = (float)(g_dataCfg.ch2[g_idx]/10.0f);

        g_count = g_dataCfg.count;
        g_weldingMode = 0;
        printf("Get data from NVM success.\r\n");
    }
    else
    {
        printf("Get data from NVM failed. Creating init value.\r\n");
        g_U=1.23f;
        g_psqr=0.8f;
        g_ch1=9.5f;
        g_cool=8.0f;
        g_ch2=9.5f;
        g_idx=0;
        g_count=0;
        for(int i=0;i<5;i++)
        {
            g_dataCfg.u[i] = FLOAT_TO_UINT32(g_U*100);
            g_dataCfg.psqr[i] = FLOAT_TO_UINT32(g_psqr*10);
            g_dataCfg.ch1[i] = FLOAT_TO_UINT32(g_ch1*10);
            g_dataCfg.cool[i] = FLOAT_TO_UINT32(g_cool*10);
            g_dataCfg.ch2[i] = FLOAT_TO_UINT32(g_ch2*10);
            g_dataCfg.flag[i] = 12345;
        }
        g_dataCfg.idx = g_idx;
        g_dataCfg.count = (uint32_t)(g_count);

        saveVal();
    }

//    LCD_Init();
//    LCD_Display_Dir(USE_LCM_DIR); //Screen orientation
//    LCD_Clear(BLACK);
//    LCD_Turn_On_Backlight();
//
//    initUI();
//    LCD_Display_On();

    ShowCnt(g_count);
    ShowSelectedChannel(g_idx,0);
//    ShowC1C2(1.23f,2.3f);
//    ShowC3C4(2.34f,4.50f);
    ShowWeldingMode(g_weldingMode,0);
    ShowSetVoltage(g_U,0);
    ShowSQDuration(g_psqr,0);
    ShowWE1Duration(g_ch1,0);
    ShowCOOLDuration(g_cool,0);
    ShowWE2Duration(g_ch2,0);
    ShowWeldingCurrent(4381);
    ShowSelectedButton(255);

//    LCD_Turn_On_Backlight();

  /* USER CODE END 2 */

  /* Infinite loop */
  /* USER CODE BEGIN WHILE */
  uint64_t pretime = 0;
  while (1)
  {
      env_detect();
      uint64_t crrtime = Get_Global_Time_us();
      if(crrtime > pretime + 100000)
      {
          pretime = crrtime;
//          printf("Set=%u,T=%u,C1=%u,C2=%u,C3=%u,C4=%u,St=%d\r\n",
//                 g_target_voltage_mv,
//                 g_temp,
//                 g_cap_voltage_mv[0],
//                 g_cap_voltage_mv[1],
//                 g_cap_voltage_mv[2],
//                 g_cap_voltage_mv[3],
//                 g_state);
      }
      update_state_machine();
      update_pulse_generation();
      update_cap_equalizer();
      saveBeforeExit();

//      HAL_GPIO_TogglePin(LED2_GPIO_Port,LED2_Pin);
    /* USER CODE END WHILE */

  }
}

void SystemClock_Config(void)
{
  RCC_OscInitTypeDef RCC_OscInitStruct = {0};
  RCC_ClkInitTypeDef RCC_ClkInitStruct = {0};

  /** Configure the main internal regulator output voltage
  */
  __HAL_RCC_PWR_CLK_ENABLE();
  __HAL_PWR_VOLTAGESCALING_CONFIG(PWR_REGULATOR_VOLTAGE_SCALE2);
  /** Initializes the RCC Oscillators according to the specified parameters
  * in the RCC_OscInitTypeDef structure.
  */
  RCC_OscInitStruct.OscillatorType = RCC_OSCILLATORTYPE_HSI;
  RCC_OscInitStruct.HSIState = RCC_HSI_ON;
  RCC_OscInitStruct.HSICalibrationValue = RCC_HSICALIBRATION_DEFAULT;
  RCC_OscInitStruct.PLL.PLLState = RCC_PLL_ON;
  RCC_OscInitStruct.PLL.PLLSource = RCC_PLLSOURCE_HSI;
  RCC_OscInitStruct.PLL.PLLM = 8;
  RCC_OscInitStruct.PLL.PLLN = 84;
  RCC_OscInitStruct.PLL.PLLP = RCC_PLLP_DIV2;
  RCC_OscInitStruct.PLL.PLLQ = 4;
  if (HAL_RCC_OscConfig(&RCC_OscInitStruct) != HAL_OK)
  {
    Error_Handler();
  }
  /** Initializes the CPU, AHB and APB buses clocks
  */
  RCC_ClkInitStruct.ClockType = RCC_CLOCKTYPE_HCLK|RCC_CLOCKTYPE_SYSCLK
                              |RCC_CLOCKTYPE_PCLK1|RCC_CLOCKTYPE_PCLK2;
  RCC_ClkInitStruct.SYSCLKSource = RCC_SYSCLKSOURCE_PLLCLK;
  RCC_ClkInitStruct.AHBCLKDivider = RCC_SYSCLK_DIV1;
  RCC_ClkInitStruct.APB1CLKDivider = RCC_HCLK_DIV2;
  RCC_ClkInitStruct.APB2CLKDivider = RCC_HCLK_DIV1;

  if (HAL_RCC_ClockConfig(&RCC_ClkInitStruct, FLASH_LATENCY_2) != HAL_OK)
  {
    Error_Handler();
  }
}

void Error_Handler(void)
{
  __disable_irq();
  while (1)
  {
  }
}

/************************ (C) COPYRIGHT STMicroelectronics *****END OF FILE****/
